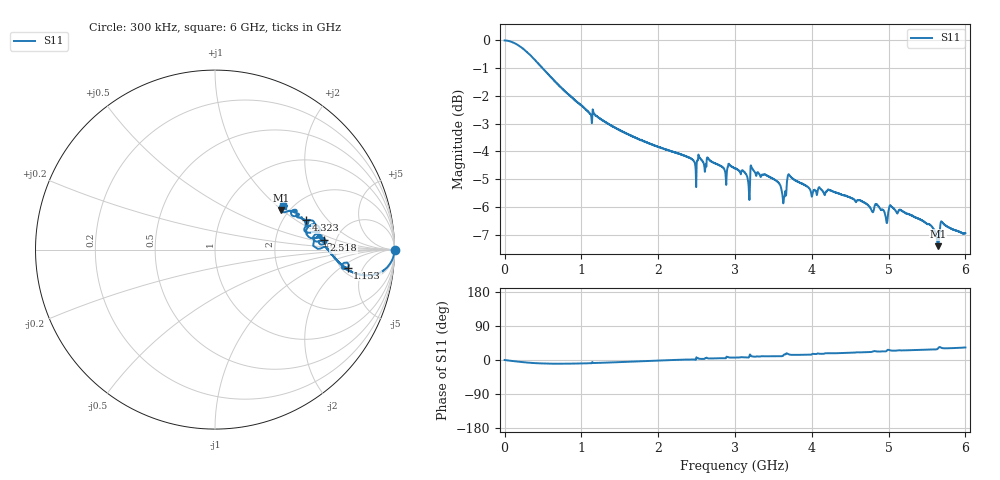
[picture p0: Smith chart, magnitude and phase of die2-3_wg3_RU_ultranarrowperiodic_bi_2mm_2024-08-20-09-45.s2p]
!Keysight Technologies,P9374A,MY57304198,A.17.20.09
!Date: Tuesday, August 20, 2024 09:45:22
!Correction: S11(C  1-Port  )
!S21(C  1-Port  )
!S12(Off)
!S22(Off)
!S2P File: Measurements: S11, S21, S12, S22:
# Hz S  dB  R 50
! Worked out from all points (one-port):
!   6000 points, 300 kHz to 6 GHz, reference 50 ohm
!   lowest |S11| = -7.4 dB at 5.644 GHz (marker M1), VSWR 2.48, Z = 91 + j48.5 ohm
!   |S11| at or under -10 dB: nowhere
!   S11 on the Smith chart (normalised r, x): 300 kHz: open; 1.153 GHz: 5.67, -2.58; 2.518 GHz: 3.99, +0.65; 4.323 GHz: 2.65, +1.21; 6 GHz: 1.78, +1.09
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300000  0.00 -0.0  -200.00 45.0  -200.00 45.0  -200.00 45.0
4.223492e8  -0.78 -8.5  -200.00 45.0  -200.00 45.0  -200.00 45.0
1.000417e9  -2.34 -9.1  -200.00 45.0  -200.00 45.0  -200.00 45.0
1.153435e9  -2.55 -7.8  -200.00 45.0  -200.00 45.0  -200.00 45.0
2.000533e9  -3.84 -1.5  -200.00 45.0  -200.00 45.0  -200.00 45.0
2.463587e9  -4.34 1.4  -200.00 45.0  -200.00 45.0  -200.00 45.0
2.517594e9  -4.32 4.9  -200.00 45.0  -200.00 45.0  -200.00 45.0
3.00065e9  -4.60 6.5  -200.00 45.0  -200.00 45.0  -200.00 45.0
3.155668e9  -4.89 6.8  -200.00 45.0  -200.00 45.0  -200.00 45.0
3.217675e9  -4.58 9.7  -200.00 45.0  -200.00 45.0  -200.00 45.0
3.59772e9  -5.29 10.1  -200.00 45.0  -200.00 45.0  -200.00 45.0
3.642725e9  -5.63 14.4  -200.00 45.0  -200.00 45.0  -200.00 45.0
3.677729e9  -5.07 17.1  -200.00 45.0  -200.00 45.0  -200.00 45.0
3.722734e9  -4.91 13.8  -200.00 45.0  -200.00 45.0  -200.00 45.0
4.000767e9  -5.63 15.1  -200.00 45.0  -200.00 45.0  -200.00 45.0
4.322804e9  -5.49 17.9  -200.00 45.0  -200.00 45.0  -200.00 45.0
4.947877e9  -6.20 22.6  -200.00 45.0  -200.00 45.0  -200.00 45.0
5.000883e9  -6.12 26.6  -200.00 45.0  -200.00 45.0  -200.00 45.0
5.428933e9  -6.48 26.9  -200.00 45.0  -200.00 45.0  -200.00 45.0
5.643958e9  -7.42 30.8  -200.00 45.0  -200.00 45.0  -200.00 45.0
5.702965e9  -6.56 31.3  -200.00 45.0  -200.00 45.0  -200.00 45.0
6e9  -6.95 33.0  -200.00 45.0  -200.00 45.0  -200.00 45.0
